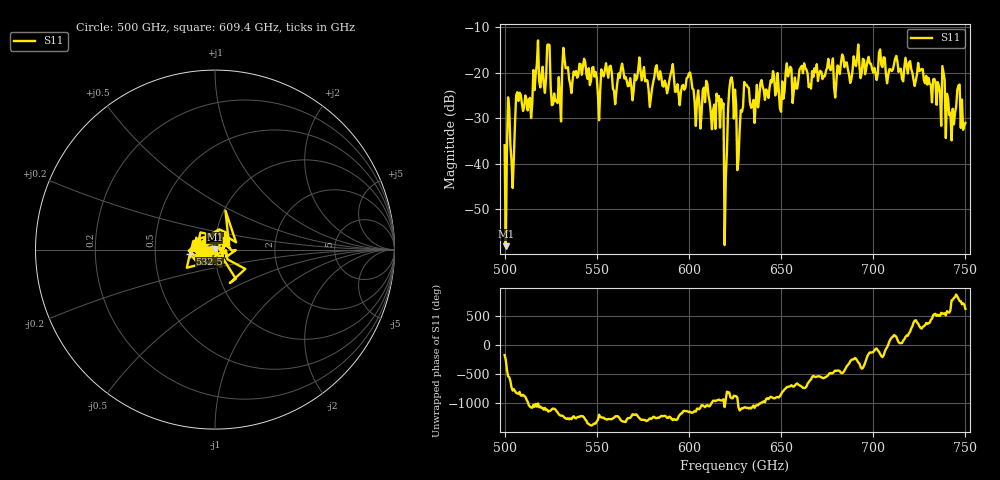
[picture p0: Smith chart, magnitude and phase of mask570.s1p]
!Created with skrf (http://scikit-rf.org).
# GHz S MA R 50.0
!freq magS11 angS11
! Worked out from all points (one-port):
!   401 points, 500 GHz to 750 GHz, reference 50 ohm
!   lowest |S11| = -58.1 dB at 500.6 GHz (marker M1), VSWR 1.00, Z = 50 + j0.118 ohm
!   |S11| at or under -10 dB: start of sweep to end of sweep
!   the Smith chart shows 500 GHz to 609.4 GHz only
!   S11 on the Smith chart (normalised r, x): 500 GHz: 0.97, -0.01; 532.5 GHz: 0.75, -0.04; 609.4 GHz: 1.13, +0.12
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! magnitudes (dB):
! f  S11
! 500 GHz  -35.9
! 500.6 GHz  -58.1
! 502.5 GHz  -27.7
! 504.4 GHz  -45.3
! 507.5 GHz  -26.2
! 513.8 GHz  -25.5
! 516.9 GHz  -20.3
! 523.8 GHz  -13.8
! 526.9 GHz  -24.6
! 531.2 GHz  -19.0
! 532.5 GHz  -17.0
! 550.6 GHz  -24.7
! 562.5 GHz  -21.2
! 593.8 GHz  -22.6
! 609.4 GHz  -21.8
! 617.5 GHz  -25.8
! 619.4 GHz  -57.8
! 620.6 GHz  -37.2
! 622.5 GHz  -21.6
! 625 GHz  -23.7
! 627.5 GHz  -32.8
! 631.2 GHz  -22.7
! 634.4 GHz  -27.5
! 656.2 GHz  -26.7
! 687.5 GHz  -22.3
! 718.8 GHz  -20.2
! 746.9 GHz  -22.6
! 750 GHz  -31.1
